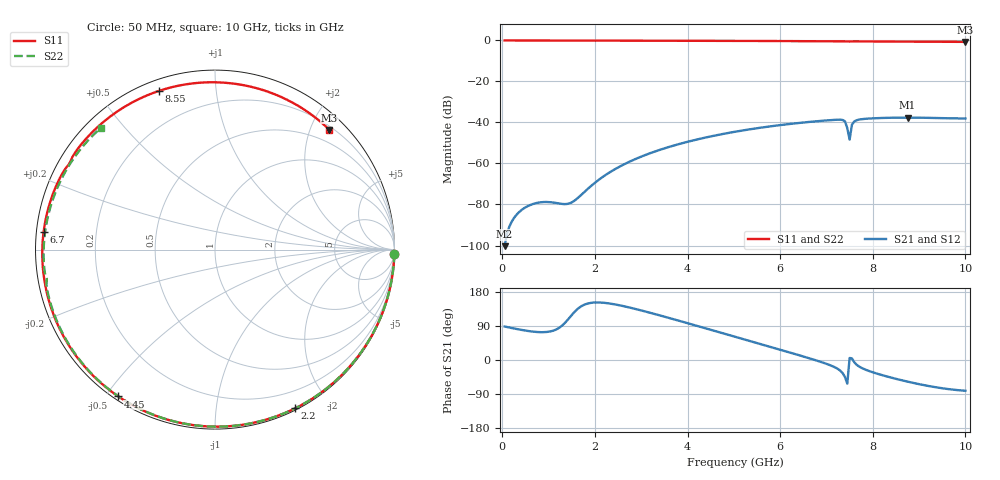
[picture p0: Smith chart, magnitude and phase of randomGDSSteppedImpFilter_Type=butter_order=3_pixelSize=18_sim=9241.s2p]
! freq	dB(S11)	phase(S11)	dB(S12)	phase(S12)
!  dB(S21)	phase(S21)	dB(S22)	phase(S22)
!S-par simulation data
#  GHz  S  DB  R 50
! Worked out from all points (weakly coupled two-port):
!   200 points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, 50 MHz to 10 GHz, reference 50 ohm
!   highest |S21| = -37.63 dB at 8.75 GHz (marker M1); lowest = -100.3 dB at 50 MHz (marker M2)
!   lowest |S11| = -0.7 dB at 10 GHz (marker M3), VSWR 24.88, Z = 12.9 + j116 ohm
!   |S11| at or under -10 dB: nowhere
!   |S22| runs from -0.6 to 0.0 dB; largest |S21 - S12| = 0
!   S11 on the Smith chart (normalised r, x): 50 MHz: 1, -76; 2.2 GHz: 0.02, -1.63; 4.45 GHz: 0.01, -0.54; 6.7 GHz: 0.02, +0.05; 8.55 GHz: 0.05, +0.71; 10 GHz: 0.26, +2.31
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0.05  -0.00 -1.5  -100.33 88.4  -100.33 88.4  -0.00 -1.3
0.7  -0.02 -20.6  -79.50 74.4  -79.50 74.4  -0.02 -18.3
1.4  -0.05 -40.7  -79.73 104.3  -79.73 104.3  -0.05 -36.2
1.75  -0.06 -50.6  -74.38 144.7  -74.38 144.7  -0.06 -44.9
2.2  -0.08 -63.2  -66.06 150.9  -66.06 150.9  -0.07 -56.0
2.75  -0.10 -78.2  -59.09 138.4  -59.09 138.4  -0.09 -69.1
3.4  -0.13 -95.7  -53.36 117.7  -53.36 117.7  -0.11 -84.1
4.45  -0.18 -123.4  -47.04 81.5  -47.04 81.5  -0.15 -107.1
5.05  -0.21 -139.3  -44.43 60.5  -44.43 60.5  -0.18 -119.8
5.9  -0.28 -162.5  -41.56 30.7  -41.56 30.7  -0.23 -137.3
6.7  -0.36 174.1  -39.58 1.9  -39.58 1.9  -0.29 -153.7
7.35  -0.44 153.2  -38.80 -34.7  -38.80 -34.7  -0.35 -167.2
7.4  -0.47 151.5  -39.43 -45.0  -39.43 -45.0  -0.37 -168.3
7.45  -0.51 149.9  -42.79 -62.4  -42.79 -62.4  -0.41 -169.4
7.5  -0.51 148.7  -48.37 5.4  -48.37 5.4  -0.43 -170.1
7.55  -0.47 147.0  -41.12 4.3  -41.12 4.3  -0.40 -171.0
7.6  -0.46 145.2  -39.51 -5.9  -39.51 -5.9  -0.39 -172.0
8.35  -0.54 117.4  -37.72 -44.9  -37.72 -44.9  -0.44 171.8
8.55  -0.56 109.4  -37.65 -51.2  -37.65 -51.2  -0.46 167.4
8.75  -0.58 101.3  -37.63 -57.1  -37.63 -57.1  -0.48 162.9
9.35  -0.64 75.6  -37.81 -71.7  -37.81 -71.7  -0.55 149.1
10  -0.70 46.3  -38.05 -81.1  -38.05 -81.1  -0.63 133.1
